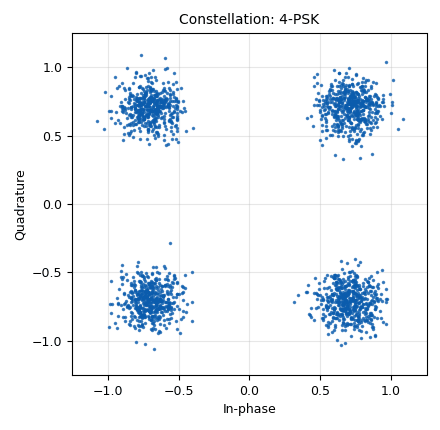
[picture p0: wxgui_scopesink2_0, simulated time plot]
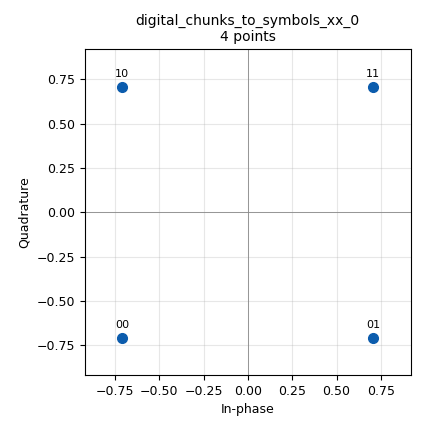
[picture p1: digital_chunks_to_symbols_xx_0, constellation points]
<?xml version='1.0' encoding='utf-8'?>
<?grc format='1' created='3.7.10'?>
<flow_graph>
<block>
<key>options</key>
<param><key>id</key><value>phasenoffset</value></param>
<param><key>author</key><value>Martin Braun</value></param>
<param><key>category</key><value>Custom</value></param>
<param><key>description</key><value>Was bewirkt eine Phasenaenderung?</value></param>
<param><key>generate_options</key><value>wx_gui</value></param>
<param><key>title</key><value>Verhalten bei Phasenoffset</value></param>
</block>
<block>
<key>variable_slider</key>
<param><key>id</key><value>EbN0</value></param>
<param><key>converver</key><value>float_converter</value></param>
<param><key>value</key><value>10</value></param>
<param><key>label</key><value>Eb/N0 (dB)</value></param>
<param><key>max</key><value>200</value></param>
<param><key>min</key><value>-10</value></param>
<param><key>num_steps</key><value>211</value></param>
<param><key>style</key><value>wx.SL_HORIZONTAL</value></param>
</block>
<block>
<key>variable</key>
<param><key>id</key><value>constellation</value></param>
<param><key>value</key><value>digital.constellation_qpsk()</value></param>
</block>
<block>
<key>variable_slider</key>
<param><key>id</key><value>fO</value></param>
<param><key>converver</key><value>float_converter</value></param>
<param><key>value</key><value>0</value></param>
<param><key>label</key><value>Frequency Offset</value></param>
<param><key>max</key><value>1</value></param>
<param><key>min</key><value>0</value></param>
<param><key>num_steps</key><value>100</value></param>
<param><key>style</key><value>wx.SL_HORIZONTAL</value></param>
</block>
<block>
<key>variable_slider</key>
<param><key>id</key><value>phase_offset</value></param>
<param><key>converver</key><value>float_converter</value></param>
<param><key>value</key><value>0</value></param>
<param><key>label</key><value>Phase Offset</value></param>
<param><key>max</key><value>1</value></param>
<param><key>min</key><value>0</value></param>
<param><key>num_steps</key><value>100</value></param>
<param><key>style</key><value>wx.SL_HORIZONTAL</value></param>
</block>
<block>
<key>variable</key>
<param><key>id</key><value>samp_rate</value></param>
<param><key>value</key><value>100e3</value></param>
</block>
<block>
<key>analog_noise_source_x</key>
<param><key>id</key><value>analog_noise_source_x_0</value></param>
<param><key>amp</key><value>1.0/math.sqrt(2.0 *2* 10**(EbN0/10))</value></param>
<param><key>noise_type</key><value>analog.GR_GAUSSIAN</value></param>
<param><key>type</key><value>complex</value></param>
<param><key>seed</key><value>0</value></param>
</block>
<block>
<key>analog_random_source_x</key>
<param><key>id</key><value>analog_random_source_x_0</value></param>
<param><key>max</key><value>constellation.arity()</value></param>
<param><key>min</key><value>0</value></param>
<param><key>num_samps</key><value>10000000</value></param>
<param><key>type</key><value>byte</value></param>
<param><key>repeat</key><value>True</value></param>
</block>
<block>
<key>analog_sig_source_x</key>
<param><key>id</key><value>analog_sig_source_x_0</value></param>
<param><key>amp</key><value>1</value></param>
<param><key>freq</key><value>fO</value></param>
<param><key>offset</key><value>0</value></param>
<param><key>type</key><value>complex</value></param>
<param><key>samp_rate</key><value>1</value></param>
<param><key>waveform</key><value>analog.GR_COS_WAVE</value></param>
</block>
<block>
<key>blks2_error_rate</key>
<param><key>id</key><value>blks2_error_rate</value></param>
<param><key>bits_per_symbol</key><value>constellation.bits_per_symbol()</value></param>
<param><key>type</key><value>'BER'</value></param>
<param><key>win_size</key><value>int(1e5)</value></param>
</block>
<block>
<key>blocks_add_xx</key>
<param><key>id</key><value>blocks_add_xx_0</value></param>
<param><key>type</key><value>complex</value></param>
</block>
<block>
<key>blocks_multiply_const_vxx</key>
<param><key>id</key><value>blocks_multiply_const_vxx_0</value></param>
<param><key>const</key><value>numpy.exp(1j * 2 * numpy.pi * phase_offset)</value></param>
<param><key>type</key><value>complex</value></param>
</block>
<block>
<key>blocks_multiply_xx</key>
<param><key>id</key><value>blocks_multiply_xx_0</value></param>
<param><key>type</key><value>complex</value></param>
</block>
<block>
<key>blocks_throttle</key>
<param><key>id</key><value>blocks_throttle_0</value></param>
<param><key>samples_per_second</key><value>samp_rate</value></param>
<param><key>type</key><value>byte</value></param>
</block>
<block>
<key>digital_chunks_to_symbols_xx</key>
<param><key>id</key><value>digital_chunks_to_symbols_xx_0</value></param>
<param><key>dimension</key><value>1</value></param>
<param><key>in_type</key><value>byte</value></param>
<param><key>out_type</key><value>complex</value></param>
<param><key>symbol_table</key><value>constellation.points()</value></param>
</block>
<block>
<key>digital_constellation_decoder_cb</key>
<param><key>id</key><value>digital_constellation_decoder_cb_0</value></param>
<param><key>constellation</key><value>constellation.base()</value></param>
</block>
<block>
<key>import</key>
<param><key>id</key><value>import</value></param>
<param><key>import</key><value>import math</value></param>
</block>
<block>
<key>import</key>
<param><key>id</key><value>import_0</value></param>
<param><key>import</key><value>import numpy</value></param>
</block>
<block>
<key>wxgui_numbersink2</key>
<param><key>id</key><value>wxgui_numbersink2</value></param>
<param><key>avg_alpha</key><value>0</value></param>
<param><key>average</key><value>False</value></param>
<param><key>decimal_places</key><value>4</value></param>
<param><key>factor</key><value>100</value></param>
<param><key>grid_pos</key><value>1, 0, 1, 1</value></param>
<param><key>max_value</key><value>1.0</value></param>
<param><key>min_value</key><value>0.0</value></param>
<param><key>number_rate</key><value>15</value></param>
<param><key>peak_hold</key><value>False</value></param>
<param><key>ref_level</key><value>0</value></param>
<param><key>samp_rate</key><value>samp_rate</value></param>
<param><key>show_gauge</key><value>False</value></param>
<param><key>title</key><value>BER</value></param>
<param><key>type</key><value>float</value></param>
<param><key>units</key><value>%</value></param>
</block>
<block>
<key>wxgui_scopesink2</key>
<param><key>id</key><value>wxgui_scopesink2_0</value></param>
<param><key>ac_couple</key><value>True</value></param>
<param><key>grid_pos</key><value>2, 0, 1, 1</value></param>
<param><key>num_inputs</key><value>1</value></param>
<param><key>samp_rate</key><value>samp_rate</value></param>
<param><key>t_scale</key><value>0</value></param>
<param><key>title</key><value>"Constellation: "+str(constellation.arity()) + "-PSK"</value></param>
<param><key>trig_mode</key><value>wxgui.TRIG_MODE_AUTO</value></param>
<param><key>type</key><value>complex</value></param>
<param><key>v_offset</key><value>0</value></param>
<param><key>v_scale</key><value>0</value></param>
<param><key>xy_mode</key><value>True</value></param>
<param><key>y_axis_label</key><value>Counts</value></param>
</block>
<connection><source_block_id>analog_noise_source_x_0</source_block_id><sink_block_id>blocks_add_xx_0</sink_block_id><source_key>0</source_key><sink_key>1</sink_key></connection>
<connection><source_block_id>analog_random_source_x_0</source_block_id><sink_block_id>blocks_throttle_0</sink_block_id><source_key>0</source_key><sink_key>0</sink_key></connection>
<connection><source_block_id>analog_random_source_x_0</source_block_id><sink_block_id>digital_chunks_to_symbols_xx_0</sink_block_id><source_key>0</source_key><sink_key>0</sink_key></connection>
<connection><source_block_id>analog_sig_source_x_0</source_block_id><sink_block_id>blocks_multiply_xx_0</sink_block_id><source_key>0</source_key><sink_key>1</sink_key></connection>
<connection><source_block_id>blks2_error_rate</source_block_id><sink_block_id>wxgui_numbersink2</sink_block_id><source_key>0</source_key><sink_key>0</sink_key></connection>
<connection><source_block_id>blocks_add_xx_0</source_block_id><sink_block_id>digital_constellation_decoder_cb_0</sink_block_id><source_key>0</source_key><sink_key>0</sink_key></connection>
<connection><source_block_id>blocks_add_xx_0</source_block_id><sink_block_id>wxgui_scopesink2_0</sink_block_id><source_key>0</source_key><sink_key>0</sink_key></connection>
<connection><source_block_id>blocks_multiply_const_vxx_0</source_block_id><sink_block_id>blocks_multiply_xx_0</sink_block_id><source_key>0</source_key><sink_key>0</sink_key></connection>
<connection><source_block_id>blocks_multiply_xx_0</source_block_id><sink_block_id>blocks_add_xx_0</sink_block_id><source_key>0</source_key><sink_key>0</sink_key></connection>
<connection><source_block_id>blocks_throttle_0</source_block_id><sink_block_id>blks2_error_rate</sink_block_id><source_key>0</source_key><sink_key>0</sink_key></connection>
<connection><source_block_id>digital_chunks_to_symbols_xx_0</source_block_id><sink_block_id>blocks_multiply_const_vxx_0</sink_block_id><source_key>0</source_key><sink_key>0</sink_key></connection>
<connection><source_block_id>digital_constellation_decoder_cb_0</source_block_id><sink_block_id>blks2_error_rate</sink_block_id><source_key>0</source_key><sink_key>1</sink_key></connection>
</flow_graph>
